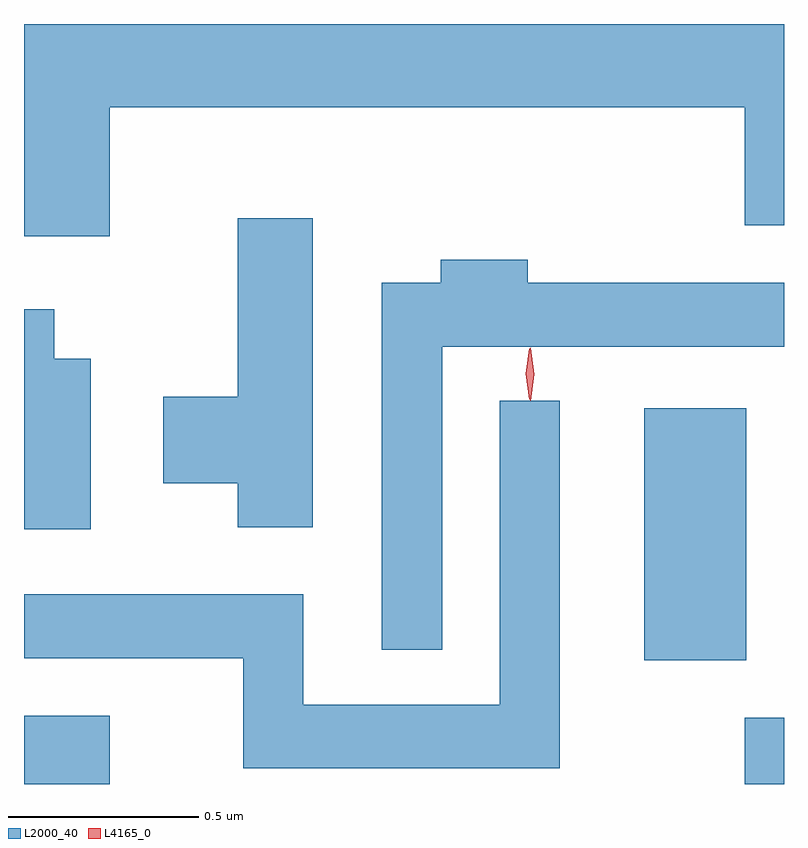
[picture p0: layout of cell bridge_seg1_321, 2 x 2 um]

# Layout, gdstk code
import gdstk
lib = gdstk.Library(unit=1e-6, precision=1e-09)
def R(c, l, rs):  # rectangles x0, y0, x1, y1
    for r in rs: c.add(gdstk.rectangle(r[:2], r[2:], *l))
def P(c, l, *ps):  # polygons
    for p in ps: c.add(gdstk.Polygon(p, *l))
L2000_40 = (2000, 40)
L4165_0 = (4165, 0)

bridge_seg1_321 = lib.new_cell('bridge_seg1_321')
R(bridge_seg1_321, L2000_40, [(886.284,875.595,886.509,875.774), (888.181,875.595,888.284,875.769), (887.916,875.921,888.184,876.584)])
P(bridge_seg1_321, L2000_40, [(886.509,877.376),(888.181,877.376),(888.181,877.066),(888.284,877.066),(888.284,877.595),(886.284,877.595),(886.284,877.036),(886.509,877.036)],
  [(887.044,877.084),(886.846,877.084),(886.846,876.614),(886.651,876.614),(886.651,876.386),(886.846,876.386),(886.846,876.271),(887.044,876.271)],
  [(887.384,876.746),(888.284,876.746),(888.284,876.914),(887.609,876.914),(887.609,876.974),(887.381,876.974),(887.381,876.914),(887.226,876.914),(887.226,875.948),(887.384,875.948)],
  [(886.459,876.714),(886.364,876.714),(886.364,876.844),(886.284,876.844),(886.284,876.266),(886.459,876.266)],
  [(887.694,876.603),(887.536,876.603),(887.536,875.804),(887.019,875.804),(887.019,876.094),(886.284,876.094),(886.284,875.926),(886.861,875.926),(886.861,875.636),(887.694,875.636)])
P(bridge_seg1_321, L4165_0, [(887.616,876.604),(887.607,876.673),(887.616,876.742),(887.617,876.743),(887.618,876.742),(887.627,876.673),(887.618,876.604),(887.617,876.604)],
  [(887.614,876.607),(887.614,876.608),(887.604,876.674),(887.614,876.74),(887.614,876.741),(887.615,876.74),(887.624,876.674),(887.615,876.608)])

lib.write_gds('bridge_seg1_321.gds')
